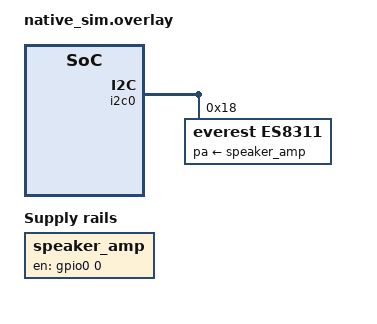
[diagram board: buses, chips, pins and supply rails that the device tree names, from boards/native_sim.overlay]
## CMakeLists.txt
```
# SPDX-License-Identifier: Apache-2.0

cmake_minimum_required(VERSION 3.20.0)

# 复用应用目录 dts/bindings 下的 ES8311 设备树绑定
list(APPEND DTS_ROOT ${CMAKE_CURRENT_SOURCE_DIR}/../..)

find_package(Zephyr REQUIRED HINTS $ENV{ZEPHYR_BASE})
project(es8311_test)

target_sources(app PRIVATE
	src/test_es8311.c
	src/es8311_emul.c
	../../drivers/audio/es8311.c
)

target_include_directories(app PRIVATE src)
```

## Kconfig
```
# SPDX-License-Identifier: Apache-2.0

mainmenu "ES8311 驱动测试配置"

source "Kconfig.zephyr"

rsource "../../drivers/audio/Kconfig"
```

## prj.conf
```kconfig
CONFIG_ZTEST=y

# I2C 总线与器件模拟
CONFIG_I2C=y
CONFIG_EMUL=y
CONFIG_I2C_EMUL=y
CONFIG_GPIO=y
CONFIG_GPIO_EMUL=y

# 音频编解码器与功放电源开关
CONFIG_REGULATOR=y
CONFIG_AUDIO=y
CONFIG_AUDIO_CODEC=y

# 功放电源开关要在使用它的编解码器之前完成初始化(设备树中 pa-supply 声明了该依赖)
CONFIG_REGULATOR_FIXED_INIT_PRIORITY=55

CONFIG_LOG=y
CONFIG_AUDIO_CODEC_LOG_LEVEL_DBG=y
```

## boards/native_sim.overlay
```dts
/*
 * SPDX-License-Identifier: Apache-2.0
 *
 * native_sim 上的测试接线:
 *   I2C0 挂 ES8311 模拟器, 功放使能接 GPIO 模拟器
 */

#include <zephyr/dt-bindings/gpio/gpio.h>

/ {
	/* 与真实板一致的功放电源开关, 由 ES8311 驱动按播放状态开关 */
	speaker_amp: speaker-amp {
		compatible = "regulator-fixed";
		regulator-name = "ns4150b";
		enable-gpios = <&gpio0 0 GPIO_ACTIVE_HIGH>;
	};
};

&i2c0 {
	/* 板级定义里已有 dummy codec 占用 audio_codec 标签, 这里用器件名作标签 */
	es8311: es8311@18 {
		compatible = "everest,es8311";
		reg = <0x18>;
		pa-supply = <&speaker_amp>;
	};
};
```

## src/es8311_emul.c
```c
/*
 * SPDX-License-Identifier: Apache-2.0
 *
 * ES8311 的 I2C 模拟器, 在 native_sim 上代替真实器件。
 *
 * 上电默认值取自 ES8311 Datasheet Rev 8.0 §8 的寄存器清单, 驱动写入的
 * 寄存器地址与取值由测试用例逐条核对。
 */

#define DT_DRV_COMPAT everest_es8311

#include <zephyr/device.h>
#include <zephyr/drivers/emul.h>
#include <zephyr/drivers/i2c.h>
#include <zephyr/drivers/i2c_emul.h>
#include <zephyr/logging/log.h>

#include <string.h>

#include "es8311_emul.h"

LOG_MODULE_REGISTER(es8311_emul, LOG_LEVEL_INF);

/* 数据手册中上电默认值非零的寄存器 */
static const struct {
	uint8_t reg;
	uint8_t val;
} es8311_emul_defaults[] = {
	{0x00, 0x1F},
	{0x03, 0x10},
	{0x04, 0x10},
	{0x06, 0x03},
	{0x08, 0xFF},
	{0x0C, 0x20},
	{0x0D, 0xFC},
	{0x0E, 0x6A},
	{0x10, 0x13},
	{0x11, 0x7C},
	{0x12, 0x02},
	{0x13, 0x40},
	{0x14, 0x10},
	{0x16, 0x04},
	{0x1B, 0x0C},
	{0x1C, 0x4C},
	{0x37, 0x08},
	{0xFD, 0x83},
	{0xFE, 0x11},
};

struct es8311_emul_data {
	uint8_t regs[ES8311_EMUL_REG_COUNT];
};

uint8_t es8311_emul_reg(const struct emul *target, uint8_t reg)
{
	const struct es8311_emul_data *data = target->data;

	return data->regs[reg];
}

static int es8311_emul_transfer(const struct emul *target, struct i2c_msg *msgs, int num_msgs,
				int addr)
{
	struct es8311_emul_data *data = target->data;
	uint8_t reg_addr;

	ARG_UNUSED(addr);

	if (num_msgs == 1 && (msgs[0].flags & I2C_MSG_READ) == 0) {
		/* 写: 首字节为寄存器地址, 次字节为数据 */
		if (msgs[0].len != 2U) {
			return -EINVAL;
		}

		reg_addr = msgs[0].buf[0];
		data->regs[reg_addr] = msgs[0].buf[1];

		return 0;
	}

	if (num_msgs == 2 && (msgs[0].flags & I2C_MSG_READ) == 0 &&
	    (msgs[1].flags & I2C_MSG_READ) != 0) {
		/* 读: 先写寄存器地址, 再读出数据 */
		if (msgs[0].len != 1U) {
			return -EINVAL;
		}

		reg_addr = msgs[0].buf[0];

		for (uint16_t idx = 0; idx < msgs[1].len; idx++) {
			msgs[1].buf[idx] = data->regs[(reg_addr + idx) % ES8311_EMUL_REG_COUNT];
		}

		return 0;
	}

	LOG_ERR("不支持的 I2C 传输: %d 段", num_msgs);

	return -EINVAL;
}

static const struct i2c_emul_api es8311_emul_api = {
	.transfer = es8311_emul_transfer,
};

static int es8311_emul_init(const struct emul *target, const struct device *parent)
{
	struct es8311_emul_data *data = target->data;

	memset(data->regs, 0, sizeof(data->regs));

	for (size_t idx = 0; idx < ARRAY_SIZE(es8311_emul_defaults); idx++) {
		data->regs[es8311_emul_defaults[idx].reg] = es8311_emul_defaults[idx].val;
	}

	LOG_INF("%s 上的 ES8311 模拟器就绪", parent->name);

	return 0;
}

#define ES8311_EMUL_DEFINE(inst)							\
	static struct es8311_emul_data es8311_emul_data_##inst;				\
	EMUL_DT_INST_DEFINE(inst, es8311_emul_init, &es8311_emul_data_##inst, NULL,	\
			    (struct i2c_emul_api *)&es8311_emul_api, NULL)

DT_INST_FOREACH_STATUS_OKAY(ES8311_EMUL_DEFINE)
```

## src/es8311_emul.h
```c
/*
 * SPDX-License-Identifier: Apache-2.0
 *
 * ES8311 的 I2C 模拟器接口, 供驱动测试读取模拟寄存器。
 */

#ifndef ES8311_EMUL_H_
#define ES8311_EMUL_H_

#include <zephyr/drivers/emul.h>

#include <stdint.h>

/* ES8311 寄存器地址范围 0x00-0xFF */
#define ES8311_EMUL_REG_COUNT 256U

/* 读取模拟寄存器值 */
uint8_t es8311_emul_reg(const struct emul *target, uint8_t reg);

#endif /* ES8311_EMUL_H_ */
```

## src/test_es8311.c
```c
/*
 * SPDX-License-Identifier: Apache-2.0
 *
 * ES8311 驱动测试, 运行在 native_sim 上, 由 I2C 模拟器代替真实器件,
 * 逐条核对驱动写入的寄存器与功放开关的时序。
 */

#include <zephyr/audio/codec.h>
#include <zephyr/device.h>
#include <zephyr/drivers/gpio/gpio_emul.h>
#include <zephyr/drivers/i2s.h>
#include <zephyr/kernel.h>
#include <zephyr/ztest.h>

#include "es8311_emul.h"

#define CODEC_NODE  DT_NODELABEL(es8311)
#define SAMPLE_RATE 16000U
#define MCLK_RATE   (SAMPLE_RATE * 256U)

/* 寄存器地址, 取自 ES8311 Datasheet Rev 8.0 §8 */
#define REG_RESET     0x00
#define REG_CLKMGR_01 0x01
#define REG_CLKMGR_03 0x03
#define REG_CLKMGR_04 0x04
#define REG_SDP_IN    0x09
#define REG_SDP_OUT   0x0A
#define REG_SYS_0D    0x0D
#define REG_SYS_0E    0x0E
#define REG_SYS_12    0x12
#define REG_SYS_14    0x14
#define REG_ADC_15    0x15
#define REG_ADC_17    0x17
#define REG_DAC_31    0x31
#define REG_DAC_32    0x32
#define REG_DAC_37    0x37
#define REG_CHIP_ID1  0xFD
#define REG_CHIP_ID2  0xFE

#define SDP_MUTE              BIT(6)
#define SYS_0D_ANALOG_ON      0x01
#define SYS_0D_ANALOG_OFF     0xFC
#define SYS_0E_ADC_ON         0x02
#define SYS_0E_ADC_OFF        0x6A
#define SYS_12_DAC_ON         0x00
#define SYS_12_DAC_OFF        0x02
#define SYS_14_MIC1_PGA_30DB    0x1A
#define DAC_31_MUTE             0x60
#define VOLUME_ZERO_DB_REG      0xBF

static const struct device *codec_dev = DEVICE_DT_GET(CODEC_NODE);
static const struct emul *codec_emul = EMUL_DT_GET(CODEC_NODE);
static const struct gpio_dt_spec amp_gpio =
	GPIO_DT_SPEC_GET(DT_PATH(speaker_amp), enable_gpios);

/* 与 xiaozhi 语音链路一致的基准配置: 16 kHz, 16 位, 两个槽位, 编解码器作从机 */
static struct audio_codec_cfg default_cfg(void)
{
	return (struct audio_codec_cfg){
		.mclk_freq = MCLK_RATE,
		.dai_type = AUDIO_DAI_TYPE_I2S,
		.dai_route = AUDIO_ROUTE_PLAYBACK_CAPTURE,
		.dai_cfg.i2s = {
			.word_size = 16,
			.channels = 2,
			.format = I2S_FMT_DATA_FORMAT_I2S,
			.options = I2S_OPT_BIT_CLK_TARGET | I2S_OPT_FRAME_CLK_TARGET,
			.frame_clk_freq = SAMPLE_RATE,
		},
	};
}

static void es8311_before_each(void *fixture)
{
	struct audio_codec_cfg cfg = default_cfg();

	ARG_UNUSED(fixture);

	zassert_ok(audio_codec_configure(codec_dev, &cfg), "基准配置应当成功");
}

ZTEST(es8311_codec, test_chip_id_read_from_device)
{
	zassert_true(device_is_ready(codec_dev), "编解码器应当就绪");
	zassert_equal(es8311_emul_reg(codec_emul, REG_CHIP_ID1), 0x83, "芯片 ID1 不匹配");
	zassert_equal(es8311_emul_reg(codec_emul, REG_CHIP_ID2), 0x11, "芯片 ID2 不匹配");
}

ZTEST(es8311_codec, test_configure_writes_clock_and_format)
{
	zassert_equal(es8311_emul_reg(codec_emul, REG_RESET) & BIT(7), BIT(7),
		      "芯片状态机应当上电");
	zassert_equal(es8311_emul_reg(codec_emul, REG_RESET) & BIT(6), 0,
		      "应当工作在从机模式");
	zassert_equal(es8311_emul_reg(codec_emul, REG_CLKMGR_01), 0x3F,
		      "MCLK/BCLK/ADC/DAC 时钟应当全部打开");
	zassert_equal(es8311_emul_reg(codec_emul, REG_CLKMGR_03), 0x10, "16 kHz 的 ADC 过采样率");
	zassert_equal(es8311_emul_reg(codec_emul, REG_CLKMGR_04), 0x20, "16 kHz 的 DAC 过采样率");

	/* 16 位字长编码为 3, I2S 格式编码为 0, 配置期间保持静音 */
	zassert_equal(es8311_emul_reg(codec_emul, REG_SDP_IN), 0x4C, "DAC 串行格式错误");
	zassert_equal(es8311_emul_reg(codec_emul, REG_SDP_OUT), 0x4C, "ADC 串行格式错误");

	zassert_equal(es8311_emul_reg(codec_emul, REG_DAC_32), VOLUME_ZERO_DB_REG,
		      "默认输出音量为 0 dB");
	zassert_equal(es8311_emul_reg(codec_emul, REG_ADC_17), VOLUME_ZERO_DB_REG,
		      "默认输入音量为 0 dB");
	zassert_equal(es8311_emul_reg(codec_emul, REG_DAC_31) & DAC_31_MUTE, DAC_31_MUTE,
		      "配置后应当保持静音");
	zassert_equal(es8311_emul_reg(codec_emul, REG_SYS_0D), SYS_0D_ANALOG_OFF,
		      "配置后模拟部分应当断电");
	zassert_equal(es8311_emul_reg(codec_emul, REG_SYS_12), SYS_12_DAC_OFF,
		      "配置后 DAC 应当断电");
}

ZTEST(es8311_codec, test_configure_rate_table)
{
	struct audio_codec_cfg cfg = default_cfg();

	cfg.dai_cfg.i2s.frame_clk_freq = 48000;
	cfg.mclk_freq = 48000 * 256U;
	zassert_ok(audio_codec_configure(codec_dev, &cfg), "48 kHz 应当被接受");
	zassert_equal(es8311_emul_reg(codec_emul, REG_CLKMGR_04), 0x10, "48 kHz 的 DAC 过采样率");

	cfg.dai_cfg.i2s.frame_clk_freq = 8000;
	cfg.mclk_freq = 8000 * 256U;
	zassert_ok(audio_codec_configure(codec_dev, &cfg), "8 kHz 应当被接受");
	zassert_equal(es8311_emul_reg(codec_emul, REG_CLKMGR_04), 0x20, "8 kHz 的 DAC 过采样率");
}

ZTEST(es8311_codec, test_configure_rejects_invalid_parameters)
{
	struct audio_codec_cfg cfg;

	cfg = default_cfg();
	cfg.mclk_freq = 12288000;
	zassert_equal(audio_codec_configure(codec_dev, &cfg), -EINVAL,
		      "MCLK 与采样率不匹配时应当报错");

	cfg = default_cfg();
	cfg.dai_cfg.i2s.frame_clk_freq = 96000;
	cfg.mclk_freq = 96000 * 256U;
	zassert_equal(audio_codec_configure(codec_dev, &cfg), -EINVAL, "非标准采样率应当报错");

	cfg = default_cfg();
	cfg.dai_cfg.i2s.word_size = 8;
	zassert_equal(audio_codec_configure(codec_dev, &cfg), -EINVAL, "不支持的字长应当报错");

	cfg = default_cfg();
	cfg.dai_cfg.i2s.channels = 3;
	zassert_equal(audio_codec_configure(codec_dev, &cfg), -EINVAL, "不支持的声道数应当报错");

	cfg = default_cfg();
	cfg.dai_type = AUDIO_DAI_TYPE_PCM;
	zassert_equal(audio_codec_configure(codec_dev, &cfg), -ENOTSUP, "不支持的 DAI 类型");

	cfg = default_cfg();
	cfg.dai_route = AUDIO_ROUTE_BYPASS;
	zassert_equal(audio_codec_configure(codec_dev, &cfg), -ENOTSUP, "不支持的音频通路");

	cfg = default_cfg();
	cfg.dai_cfg.i2s.options = I2S_OPT_BIT_CLK_CONTROLLER | I2S_OPT_FRAME_CLK_CONTROLLER;
	zassert_equal(audio_codec_configure(codec_dev, &cfg), -ENOTSUP,
		      "编解码器只能作从机, 缺少从机选项应当报错");
}

ZTEST(es8311_codec, test_output_volume_property)
{
	audio_property_value_t value = {.vol = 0};

	zassert_ok(audio_codec_set_property(codec_dev, AUDIO_PROPERTY_OUTPUT_VOLUME,
					    AUDIO_CHANNEL_ALL, value));
	zassert_equal(es8311_emul_reg(codec_emul, REG_DAC_32), VOLUME_ZERO_DB_REG, "0 dB 的寄存器值");

	value.vol = -20;
	zassert_ok(audio_codec_set_property(codec_dev, AUDIO_PROPERTY_OUTPUT_VOLUME,
					    AUDIO_CHANNEL_ALL, value));
	zassert_equal(es8311_emul_reg(codec_emul, REG_DAC_32), VOLUME_ZERO_DB_REG - 40,
		      "-20 dB 的寄存器值");

	value.vol = 32;
	zassert_ok(audio_codec_set_property(codec_dev, AUDIO_PROPERTY_OUTPUT_VOLUME,
					    AUDIO_CHANNEL_ALL, value));
	zassert_equal(es8311_emul_reg(codec_emul, REG_DAC_32), 0xFF, "+32 dB 的寄存器值");

	value.vol = 33;
	zassert_equal(audio_codec_set_property(codec_dev, AUDIO_PROPERTY_OUTPUT_VOLUME,
					       AUDIO_CHANNEL_ALL, value),
		      -EINVAL, "超出范围的音量应当报错");

	value.vol = -96;
	zassert_equal(audio_codec_set_property(codec_dev, AUDIO_PROPERTY_OUTPUT_VOLUME,
					       AUDIO_CHANNEL_ALL, value),
		      -EINVAL, "低于下限的音量应当报错");

	value.vol = 6;
	zassert_ok(audio_codec_set_property(codec_dev, AUDIO_PROPERTY_INPUT_VOLUME,
					    AUDIO_CHANNEL_ALL, value));
	zassert_equal(es8311_emul_reg(codec_emul, REG_ADC_17), VOLUME_ZERO_DB_REG + 12,
		      "输入音量寄存器值");
}

ZTEST(es8311_codec, test_mute_properties)
{
	audio_property_value_t value = {.mute = true};

	zassert_ok(audio_codec_set_property(codec_dev, AUDIO_PROPERTY_OUTPUT_MUTE,
					    AUDIO_CHANNEL_ALL, value));
	zassert_equal(es8311_emul_reg(codec_emul, REG_DAC_31) & DAC_31_MUTE, DAC_31_MUTE,
		      "输出静音位应当置位");

	value.mute = false;
	zassert_ok(audio_codec_set_property(codec_dev, AUDIO_PROPERTY_OUTPUT_MUTE,
					    AUDIO_CHANNEL_ALL, value));
	zassert_equal(es8311_emul_reg(codec_emul, REG_DAC_31) & DAC_31_MUTE, 0,
		      "输出静音位应当清除");

	value.mute = true;
	zassert_ok(audio_codec_set_property(codec_dev, AUDIO_PROPERTY_INPUT_MUTE,
					    AUDIO_CHANNEL_ALL, value));
	zassert_equal(es8311_emul_reg(codec_emul, REG_SDP_OUT) & SDP_MUTE, SDP_MUTE,
		      "输入静音位应当置位");

	value.mute = false;
	zassert_ok(audio_codec_set_property(codec_dev, AUDIO_PROPERTY_INPUT_MUTE,
					    AUDIO_CHANNEL_ALL, value));
	zassert_equal(es8311_emul_reg(codec_emul, REG_SDP_OUT) & SDP_MUTE, 0,
		      "输入静音位应当清除");
}

ZTEST(es8311_codec, test_playback_controls_amplifier)
{
	audio_codec_start_output(codec_dev);

	zassert_equal(gpio_emul_output_get_dt(&amp_gpio), 1,
		      "播放开始时功放应当使能");
	zassert_equal(es8311_emul_reg(codec_emul, REG_SYS_0D), SYS_0D_ANALOG_ON,
		      "模拟部分应当上电");
	zassert_equal(es8311_emul_reg(codec_emul, REG_SYS_12), SYS_12_DAC_ON, "DAC 应当上电");
	zassert_equal(es8311_emul_reg(codec_emul, REG_DAC_31) & DAC_31_MUTE, 0,
		      "播放开始时应当解除静音");
	zassert_equal(es8311_emul_reg(codec_emul, REG_SDP_IN) & SDP_MUTE, 0,
		      "播放开始时应当解除数字静音");
	zassert_equal(es8311_emul_reg(codec_emul, REG_DAC_37), 0x48,
		      "音量变化应当按 0.25dB/32LRCK 渐变");

	audio_codec_stop_output(codec_dev);

	zassert_equal(gpio_emul_output_get_dt(&amp_gpio), 0,
		      "播放结束时功放应当关闭");
	zassert_equal(es8311_emul_reg(codec_emul, REG_DAC_31) & DAC_31_MUTE, DAC_31_MUTE,
		      "播放结束时应当静音");
	zassert_equal(es8311_emul_reg(codec_emul, REG_SYS_12), SYS_12_DAC_OFF, "DAC 应当断电");
	zassert_equal(es8311_emul_reg(codec_emul, REG_SYS_0D), SYS_0D_ANALOG_OFF,
		      "无方向在用时时模拟部分应当断电");
}

ZTEST(es8311_codec, test_capture_path_and_shared_analog_power)
{
	zassert_ok(audio_codec_start(codec_dev, AUDIO_DAI_DIR_RX), "开始采集应当成功");
	zassert_equal(es8311_emul_reg(codec_emul, REG_SYS_0E), SYS_0E_ADC_ON,
		      "PGA 与 ADC 调制器应当上电");
	zassert_equal(es8311_emul_reg(codec_emul, REG_SYS_14), SYS_14_MIC1_PGA_30DB,
		      "应当选中差分 MIC1 输入");
	zassert_equal(es8311_emul_reg(codec_emul, REG_ADC_15), 0x40, "ADC 音量应当带软渐变");
	zassert_equal(es8311_emul_reg(codec_emul, REG_SDP_OUT) & SDP_MUTE, 0,
		      "采集开始时应当解除数字静音");
	zassert_equal(es8311_emul_reg(codec_emul, REG_SYS_0D), SYS_0D_ANALOG_ON,
		      "采集开始时模拟部分应当上电");

	/* 采集进行中添加播放, 播放结束后模拟部分必须保持上电 */
	audio_codec_start_output(codec_dev);
	zassert_equal(gpio_emul_output_get_dt(&amp_gpio), 1,
		      "播放开始时功放应当使能");

	audio_codec_stop_output(codec_dev);
	zassert_equal(gpio_emul_output_get_dt(&amp_gpio), 0,
		      "播放结束时功放应当关闭");
	zassert_equal(es8311_emul_reg(codec_emul, REG_SYS_0D), SYS_0D_ANALOG_ON,
		      "采集仍在进行, 模拟部分不得断电");

	zassert_ok(audio_codec_stop(codec_dev, AUDIO_DAI_DIR_RX), "停止采集应当成功");
	zassert_equal(es8311_emul_reg(codec_emul, REG_SDP_OUT) & SDP_MUTE, SDP_MUTE,
		      "停止采集后应当静音");
	zassert_equal(es8311_emul_reg(codec_emul, REG_SYS_0E), SYS_0E_ADC_OFF,
		      "停止采集后 PGA 与调制器应当断电");
	zassert_equal(es8311_emul_reg(codec_emul, REG_SYS_0D), SYS_0D_ANALOG_OFF,
		      "所有方向停止后模拟部分应当断电");
}

ZTEST_SUITE(es8311_codec, NULL, NULL, es8311_before_each, NULL, NULL);
```
